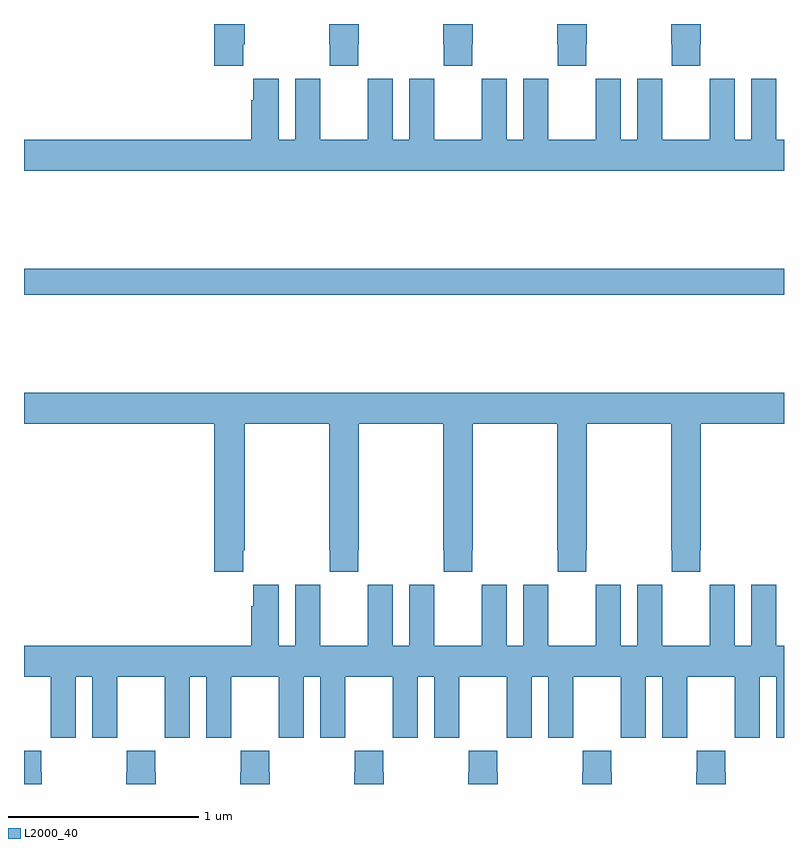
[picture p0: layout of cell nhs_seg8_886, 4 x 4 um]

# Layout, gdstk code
import gdstk
lib = gdstk.Library(unit=1e-6, precision=1e-09)
def R(c, l, rs):  # rectangles x0, y0, x1, y1
    for r in rs: c.add(gdstk.rectangle(r[:2], r[2:], *l))
def P(c, l, *ps):  # polygons
    for p in ps: c.add(gdstk.Polygon(p, *l))
L2000_40 = (2000, 40)

nhs_seg8_886 = lib.new_cell('nhs_seg8_886')
R(nhs_seg8_886, L2000_40, [(167,1154.476,171,1154.612)])
P(nhs_seg8_886, L2000_40, [(169.207,1155.793),(169.209,1155.793),(169.209,1155.681),(169.359,1155.681),(169.359,1155.793),(169.362,1155.793),(169.362,1155.9),(169.207,1155.9)],
  [(168.759,1155.793),(168.762,1155.793),(168.762,1155.9),(168.607,1155.9),(168.607,1155.793),(168.609,1155.793),(168.609,1155.681),(168.759,1155.681)],
  [(168.155,1155.793),(168.162,1155.793),(168.162,1155.9),(168.002,1155.9),(168.002,1155.681),(168.155,1155.681)],
  [(170.559,1155.793),(170.562,1155.793),(170.562,1155.9),(170.407,1155.9),(170.407,1155.793),(170.409,1155.793),(170.409,1155.681),(170.559,1155.681)],
  [(169.959,1155.793),(169.962,1155.793),(169.962,1155.9),(169.807,1155.9),(169.807,1155.793),(169.809,1155.793),(169.809,1155.681),(169.959,1155.681)],
  [(171,1155.292),(170.959,1155.292),(170.959,1155.5),(170.958,1155.5),(170.958,1155.613),(170.828,1155.613),(170.828,1155.292),(170.74,1155.292),(170.74,1155.613),(170.61,1155.613),(170.61,1155.5),(170.609,1155.5),(170.609,1155.292),(170.359,1155.292),(170.359,1155.5),(170.358,1155.5),(170.358,1155.613),(170.228,1155.613),(170.228,1155.292),(170.14,1155.292),(170.14,1155.613),(170.01,1155.613),(170.01,1155.5),(170.009,1155.5),(170.009,1155.292),(169.759,1155.292),(169.759,1155.5),(169.758,1155.5),(169.758,1155.613),(169.628,1155.613),(169.628,1155.292),(169.54,1155.292),(169.54,1155.613),(169.41,1155.613),(169.41,1155.5),(169.409,1155.5),(169.409,1155.292),(169.159,1155.292),(169.159,1155.5),(169.158,1155.5),(169.158,1155.613),(169.028,1155.613),(169.028,1155.292),(168.94,1155.292),(168.94,1155.613),(168.81,1155.613),(168.81,1155.5),(168.809,1155.5),(168.809,1155.292),(168.559,1155.292),(168.559,1155.5),(168.558,1155.5),(168.558,1155.613),(168.428,1155.613),(168.428,1155.292),(168.34,1155.292),(168.34,1155.613),(168.206,1155.613),(168.206,1155.5),(168.197,1155.5),(168.197,1155.292),(167,1155.292),(167,1155.128),(171,1155.128)],
  [(168.155,1153.129),(168.162,1153.129),(168.162,1153.796),(168.607,1153.796),(168.607,1153.129),(168.609,1153.129),(168.609,1153.017),(168.759,1153.017),(168.759,1153.129),(168.762,1153.129),(168.762,1153.796),(169.207,1153.796),(169.207,1153.129),(169.209,1153.129),(169.209,1153.017),(169.359,1153.017),(169.359,1153.129),(169.362,1153.129),(169.362,1153.796),(169.807,1153.796),(169.807,1153.129),(169.809,1153.129),(169.809,1153.017),(169.959,1153.017),(169.959,1153.129),(169.962,1153.129),(169.962,1153.796),(170.407,1153.796),(170.407,1153.129),(170.409,1153.129),(170.409,1153.017),(170.559,1153.017),(170.559,1153.129),(170.562,1153.129),(170.562,1153.796),(171,1153.796),(171,1153.96),(167,1153.96),(167,1153.796),(168.002,1153.796),(168.002,1153.017),(168.155,1153.017)],
  [(167.272,1152.464),(167.36,1152.464),(167.36,1152.144),(167.49,1152.144),(167.49,1152.256),(167.491,1152.256),(167.491,1152.464),(167.741,1152.464),(167.741,1152.256),(167.742,1152.256),(167.742,1152.144),(167.872,1152.144),(167.872,1152.464),(167.96,1152.464),(167.96,1152.144),(168.09,1152.144),(168.09,1152.256),(168.091,1152.256),(168.091,1152.464),(168.341,1152.464),(168.341,1152.256),(168.342,1152.256),(168.342,1152.144),(168.472,1152.144),(168.472,1152.464),(168.56,1152.464),(168.56,1152.144),(168.69,1152.144),(168.69,1152.256),(168.691,1152.256),(168.691,1152.464),(168.941,1152.464),(168.941,1152.256),(168.942,1152.256),(168.942,1152.144),(169.072,1152.144),(169.072,1152.464),(169.16,1152.464),(169.16,1152.144),(169.29,1152.144),(169.29,1152.256),(169.291,1152.256),(169.291,1152.464),(169.541,1152.464),(169.541,1152.256),(169.542,1152.256),(169.542,1152.144),(169.672,1152.144),(169.672,1152.464),(169.76,1152.464),(169.76,1152.144),(169.89,1152.144),(169.89,1152.256),(169.891,1152.256),(169.891,1152.464),(170.141,1152.464),(170.141,1152.256),(170.142,1152.256),(170.142,1152.144),(170.272,1152.144),(170.272,1152.464),(170.36,1152.464),(170.36,1152.144),(170.49,1152.144),(170.49,1152.256),(170.491,1152.256),(170.491,1152.464),(170.741,1152.464),(170.741,1152.256),(170.742,1152.256),(170.742,1152.144),(170.872,1152.144),(170.872,1152.464),(170.96,1152.464),(170.96,1152.144),(171,1152.144),(171,1152.628),(170.959,1152.628),(170.959,1152.836),(170.958,1152.836),(170.958,1152.949),(170.828,1152.949),(170.828,1152.628),(170.74,1152.628),(170.74,1152.949),(170.61,1152.949),(170.61,1152.836),(170.609,1152.836),(170.609,1152.628),(170.359,1152.628),(170.359,1152.836),(170.358,1152.836),(170.358,1152.949),(170.228,1152.949),(170.228,1152.628),(170.14,1152.628),(170.14,1152.949),(170.01,1152.949),(170.01,1152.836),(170.009,1152.836),(170.009,1152.628),(169.759,1152.628),(169.759,1152.836),(169.758,1152.836),(169.758,1152.949),(169.628,1152.949),(169.628,1152.628),(169.54,1152.628),(169.54,1152.949),(169.41,1152.949),(169.41,1152.836),(169.409,1152.836),(169.409,1152.628),(169.159,1152.628),(169.159,1152.836),(169.158,1152.836),(169.158,1152.949),(169.028,1152.949),(169.028,1152.628),(168.94,1152.628),(168.94,1152.949),(168.81,1152.949),(168.81,1152.836),(168.809,1152.836),(168.809,1152.628),(168.559,1152.628),(168.559,1152.836),(168.558,1152.836),(168.558,1152.949),(168.428,1152.949),(168.428,1152.628),(168.34,1152.628),(168.34,1152.949),(168.206,1152.949),(168.206,1152.836),(168.197,1152.836),(168.197,1152.628),(167,1152.628),(167,1152.464),(167.141,1152.464),(167.141,1152.256),(167.142,1152.256),(167.142,1152.144),(167.272,1152.144)],
  [(167.094,1151.963),(167.091,1151.963),(167.091,1152.076),(167,1152.076),(167,1151.9),(167.094,1151.9)],
  [(168.894,1151.963),(168.891,1151.963),(168.891,1152.076),(168.741,1152.076),(168.741,1151.963),(168.739,1151.963),(168.739,1151.9),(168.894,1151.9)],
  [(168.294,1151.963),(168.291,1151.963),(168.291,1152.076),(168.141,1152.076),(168.141,1151.963),(168.139,1151.963),(168.139,1151.9),(168.294,1151.9)],
  [(167.694,1151.963),(167.691,1151.963),(167.691,1152.076),(167.541,1152.076),(167.541,1151.963),(167.539,1151.963),(167.539,1151.9),(167.694,1151.9)],
  [(170.694,1151.963),(170.691,1151.963),(170.691,1152.076),(170.541,1152.076),(170.541,1151.963),(170.539,1151.963),(170.539,1151.9),(170.694,1151.9)],
  [(170.094,1151.963),(170.091,1151.963),(170.091,1152.076),(169.941,1152.076),(169.941,1151.963),(169.939,1151.963),(169.939,1151.9),(170.094,1151.9)],
  [(169.494,1151.963),(169.491,1151.963),(169.491,1152.076),(169.341,1152.076),(169.341,1151.963),(169.339,1151.963),(169.339,1151.9),(169.494,1151.9)])

lib.write_gds('nhs_seg8_886.gds')
